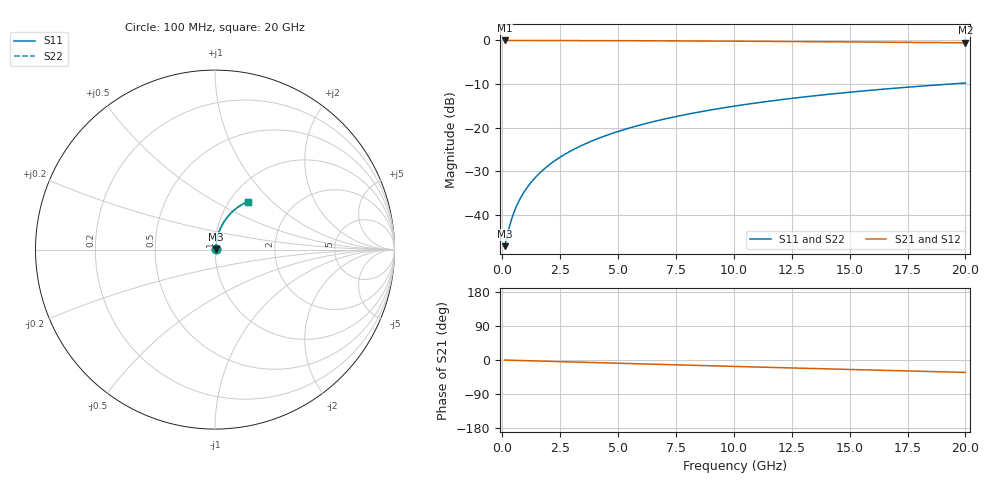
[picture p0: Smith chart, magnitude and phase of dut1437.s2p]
! Touchstone file exported from HFSS 2026.1.0
!  File:  C:/ffzhzh/LocalFiles/Ansys_Project_Files/temp_train_TMRDL_1437_1783166954_22436.aedt
!  Generated:  08:10:30 PM Jul  4, 2026
!  Design:  TMRDL
!  Project:  temp_train_TMRDL_1437_1783166954_22436
! Variables:
!  h_bsmrdl = 2um
!  h_ox = 20um
!  h_rdl = 5um
!  h_sub = 80um
!  h_tmrdl = 2.21um
!  h_tsv = 80um
!  h_via = 3um
!  l_bsmrdl = 300um
!  l_sub = 846.54um
!  l_tmrdl = 446.54um
!  m_sub = 200um
!  pitch = 43.91um
!  r_tsv = 6um
!  s_tmrdl = 10um
!  w_bsmrdl = 18um
!  w_sub = 500um
!  w_tmrdl = 19.77um
!  x_tsv_center1 = 456.425um
!  x_tsv_center2 = 774.425um
!  x_tsv_center3 = 1240.735um
!  x_tsv_center4 = 1558.735um
!  x_tsv_center5 = 2025.045um
!  x_tsv_center6 = 2343.045um
# GHz S MA R 50.000000
! Terminal data exported
! Port[1] = TM_RDL1_1_T1
! Port[2] = TM_RDL1_1_T2
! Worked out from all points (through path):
!   200 points, 100 MHz to 20 GHz, reference 50 ohm
!   highest |S21| = -0.03 dB at 100 MHz (marker M1); lowest = -0.6 dB at 20 GHz (marker M2)
!   group delay of S21, straight-line fit = 4.55 ps
!   lowest |S11| = -47.1 dB at 100 MHz (marker M3), VSWR 1.01, Z = 50.4 + j0.201 ohm
!   |S11| at or under -10 dB: start of sweep to 19.38 GHz
!   |S22| runs from -47.1 to -9.8 dB; largest |S21 - S12| = 3.9e-15
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0.1  0.004401 26.9  0.9961 -0.2  0.9961 -0.2  0.004401 26.9
! Gamma 0 0 0 0
! Port Impedance 50 0 50 0
0.3  0.007212 54.8  0.9959 -0.5  0.9959 -0.5  0.007212 54.8
0.4  0.008907 61.0  0.9957 -0.7  0.9957 -0.7  0.008907 61.0
0.5  0.01064 65.0  0.9956 -0.9  0.9956 -0.9  0.01064 65.0
0.6  0.01239 67.9  0.9955 -1.1  0.9955 -1.1  0.01239 67.9
0.7  0.01414 70.0  0.9954 -1.2  0.9954 -1.2  0.01414 70.0
0.9  0.01765 72.9  0.9951 -1.6  0.9951 -1.6  0.01765 72.9
1.2  0.02292 75.6  0.9949 -2.1  0.9949 -2.1  0.02292 75.5
1.4  0.02644 76.7  0.9947 -2.4  0.9947 -2.4  0.02644 76.7
1.7  0.03175 77.9  0.9944 -3.0  0.9944 -3.0  0.03175 77.8
2.2  0.04065 78.9  0.994 -3.8  0.994 -3.8  0.04065 78.9
2.8  0.05135 79.3  0.9934 -4.8  0.9934 -4.8  0.05135 79.2
3.5  0.06384 79.1  0.9926 -6.0  0.9926 -6.0  0.06385 79.1
4.2  0.07631 78.6  0.9915 -7.2  0.9915 -7.2  0.07631 78.6
5  0.09048 77.8  0.9902 -8.6  0.9902 -8.6  0.09048 77.8
5.9  0.1063 76.7  0.9884 -10.1  0.9884 -10.1  0.1063 76.7
6.8  0.122 75.5  0.9864 -11.6  0.9864 -11.6  0.122 75.5
8.3  0.1477 73.4  0.9825 -14.1  0.9825 -14.1  0.1477 73.3
10.1  0.1778 70.6  0.977 -17.1  0.977 -17.1  0.1778 70.6
13.4  0.2304 65.6  0.9651 -22.5  0.9651 -22.5  0.2304 65.5
16.7  0.2794 60.5  0.9513 -27.7  0.9513 -27.7  0.2794 60.4
20  0.3244 55.6  0.9363 -32.7  0.9363 -32.7  0.3244 55.5
